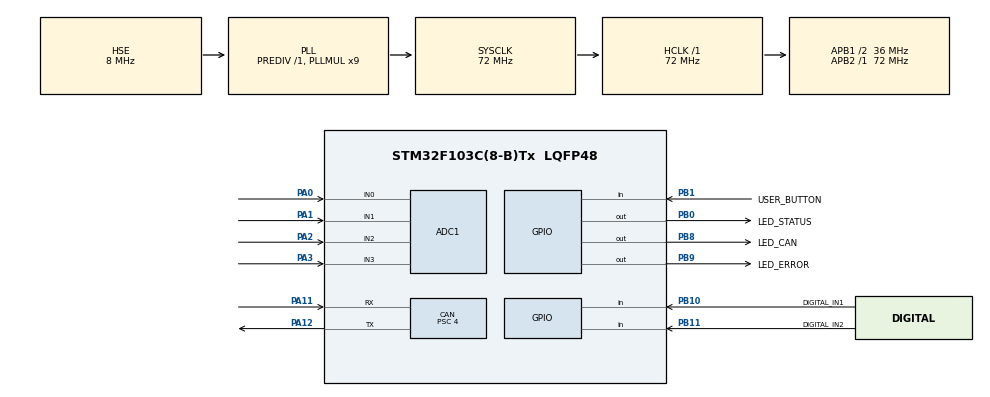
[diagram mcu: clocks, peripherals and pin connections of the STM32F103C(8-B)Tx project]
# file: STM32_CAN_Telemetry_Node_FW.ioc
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ADC1.Channel-0\#ChannelRegularConversion=ADC_CHANNEL_0
ADC1.Channel-1\#ChannelRegularConversion=ADC_CHANNEL_1
ADC1.Channel-2\#ChannelRegularConversion=ADC_CHANNEL_2
ADC1.Channel-3\#ChannelRegularConversion=ADC_CHANNEL_3
ADC1.NbrOfConversion=4
ADC1.NbrOfConversionFlag=1
ADC1.Rank-0\#ChannelRegularConversion=1
ADC1.Rank-1\#ChannelRegularConversion=2
ADC1.Rank-2\#ChannelRegularConversion=3
ADC1.Rank-3\#ChannelRegularConversion=4
ADC1.SamplingTime-0\#ChannelRegularConversion=ADC_SAMPLETIME_55CYCLES_5
ADC1.SamplingTime-1\#ChannelRegularConversion=ADC_SAMPLETIME_55CYCLES_5
ADC1.SamplingTime-2\#ChannelRegularConversion=ADC_SAMPLETIME_55CYCLES_5
ADC1.SamplingTime-3\#ChannelRegularConversion=ADC_SAMPLETIME_55CYCLES_5
ADC1.master=1
CAN.ABOM=ENABLE
CAN.BS1=CAN_BS1_13TQ
CAN.BS2=CAN_BS2_4TQ
CAN.CalculateBaudRate=500000
CAN.CalculateTimeBit=2000
CAN.CalculateTimeQuantum=111.11111111111111
CAN.Mode=CAN_MODE_NORMAL
CAN.NART=ENABLE
CAN.Prescaler=4
Mcu.Family=STM32F1
Mcu.Name=STM32F103C(8-B)Tx
Mcu.Package=LQFP48
NVIC.PriorityGroup=NVIC_PRIORITYGROUP_4
PA0-WKUP.Signal=ADCx_IN0
PA1.Signal=ADCx_IN1
PA11.Mode=CAN_Activate
PA11.Signal=CAN_RX
PA12.Mode=CAN_Activate
PA12.Signal=CAN_TX
PA13.Mode=Serial_Wire
PA13.Signal=SYS_JTMS-SWDIO
PA14.Mode=Serial_Wire
PA14.Signal=SYS_JTCK-SWCLK
PA2.Signal=ADCx_IN2
PA3.Signal=ADCx_IN3
PA8.Signal=S_TIM1_CH1
PB0.GPIO_Label=LED_STATUS
PB0.Signal=GPIO_Output
PB1.GPIO_Label=USER_BUTTON
PB1.Signal=GPIO_Input
PB10.GPIO_Label=DIGITAL_IN1
PB10.Signal=GPIO_Input
PB11.GPIO_Label=DIGITAL_IN2
PB11.Signal=GPIO_Input
PB8.GPIO_Label=LED_CAN
PB8.Signal=GPIO_Output
PB9.GPIO_Label=LED_ERROR
PB9.Signal=GPIO_Output
PD0-OSC_IN.Mode=HSE-External-Oscillator
PD0-OSC_IN.Signal=RCC_OSC_IN
PD1-OSC_OUT.Mode=HSE-External-Oscillator
PD1-OSC_OUT.Signal=RCC_OSC_OUT
ProjectManager.HeapSize=0x200
ProjectManager.StackSize=0x400
ProjectManager.TargetToolchain=STM32CubeIDE
RCC.ADCPresc=RCC_ADCPCLK2_DIV8
RCC.AHBFreq_Value=72000000
RCC.APB1CLKDivider=RCC_HCLK_DIV2
RCC.APB1Freq_Value=36000000
RCC.APB1TimFreq_Value=72000000
RCC.APB2Freq_Value=72000000
RCC.APB2TimFreq_Value=72000000
RCC.HCLKFreq_Value=72000000
RCC.PLLMUL=RCC_PLL_MUL9
RCC.PLLSourceVirtual=RCC_PLLSOURCE_HSE
RCC.SYSCLKFreq_VALUE=72000000
RCC.SYSCLKSource=RCC_SYSCLKSOURCE_PLLCLK
RCC.USBFreq_Value=72000000
SH.ADCx_IN0.0=ADC1_IN0,IN0
SH.ADCx_IN1.0=ADC1_IN1,IN1
SH.ADCx_IN2.0=ADC1_IN2,IN2
SH.ADCx_IN3.0=ADC1_IN3,IN3
SH.S_TIM1_CH1.0=TIM1_CH1
board=custom

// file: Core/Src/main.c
/* USER CODE BEGIN Header */
/**
  ******************************************************************************
  * @file           : main.c
  * @brief          : Main program body
  ******************************************************************************
  * @attention
  *
  * STM32 CAN Telemetry Node Rev A
  * Starter firmware framework for planned ADC-to-CAN bring-up.
  *
  * Status:
  * - Firmware structure for GPIO, ADC, and CAN transmit logic.
  * - Intended CAN message: Standard ID 0x100, DLC 8.
  * - Hardware validation is planned after PCB assembly.
  * - This firmware has not yet been tested on physical Rev A hardware.
  *
  * Copyright (c) 2026 STMicroelectronics.
  * All rights reserved.
  *
  * This software is licensed under terms that can be found in the LICENSE file
  * in the root directory of this software component.
  * If no LICENSE file comes with this software, it is provided AS-IS.
  *
  ******************************************************************************
  */
/* USER CODE END Header */

#include "main.h"
#include "adc.h"
#include "can.h"
#include "gpio.h"

/* USER CODE BEGIN PD */

#define CAN_TELEMETRY_ID        0x100U
#define CAN_TELEMETRY_DLC       8U
#define TELEMETRY_PERIOD_MS     100U

/* USER CODE END PD */

/* USER CODE BEGIN PV */

/*
 * Raw ADC values:
 * adc_values[0] = AIN1_RAW from PA0 / ADC_IN0
 * adc_values[1] = AIN2_RAW from PA1 / ADC_IN1
 * adc_values[2] = AIN3_RAW from PA2 / ADC_IN2
 * adc_values[3] = AIN4_RAW from PA3 / ADC_IN3
 */
uint16_t adc_values[4] = {0};

/*
 * CAN transmit objects for the planned telemetry frame.
 */
CAN_TxHeaderTypeDef TxHeader;
uint8_t TxData[8] = {0};
uint32_t TxMailbox;

/* USER CODE END PV */

void SystemClock_Config(void);

/* USER CODE BEGIN PFP */

static void Read_ADC_Channels(void);
static void Pack_CAN_Data(void);
static void Init_CAN_Message(void);

/* USER CODE END PFP */

/* USER CODE BEGIN 0 */

/*
 * Read_ADC_Channels
 *
 * Reads four ADC channels configured in ADC1 scan mode:
 * Rank 1: PA0 / ADC_IN0 / AIN1
 * Rank 2: PA1 / ADC_IN1 / AIN2
 * Rank 3: PA2 / ADC_IN2 / AIN3
 * Rank 4: PA3 / ADC_IN3 / AIN4
 *
 * Important:
 * ADC is started once, then each ranked conversion is read in order.
 * This avoids restarting the ADC sequence at Rank 1 every time.
 */
static void Read_ADC_Channels(void)
{
    HAL_ADC_Start(&hadc1);

    for (uint8_t i = 0; i < 4; i++)
    {
        if (HAL_ADC_PollForConversion(&hadc1, 10) == HAL_OK)
        {
            adc_values[i] = (uint16_t)HAL_ADC_GetValue(&hadc1);
        }
    }

    HAL_ADC_Stop(&hadc1);
}

/*
 * Pack_CAN_Data
 *
 * Packs four 16-bit raw ADC values into an 8-byte CAN payload.
 *
 * Payload format:
 * Byte 0-1: AIN1_RAW
 * Byte 2-3: AIN2_RAW
 * Byte 4-5: AIN3_RAW
 * Byte 6-7: AIN4_RAW
 *
 * Each uint16_t value is packed little-endian:
 * low byte first, high byte second.
 */
static void Pack_CAN_Data(void)
{
    TxData[0] = (uint8_t)(adc_values[0] & 0xFF);
    TxData[1] = (uint8_t)((adc_values[0] >> 8) & 0xFF);

    TxData[2] = (uint8_t)(adc_values[1] & 0xFF);
    TxData[3] = (uint8_t)((adc_values[1] >> 8) & 0xFF);

    TxData[4] = (uint8_t)(adc_values[2] & 0xFF);
    TxData[5] = (uint8_t)((adc_values[2] >> 8) & 0xFF);

    TxData[6] = (uint8_t)(adc_values[3] & 0xFF);
    TxData[7] = (uint8_t)((adc_values[3] >> 8) & 0xFF);
}

/*
 * Init_CAN_Message
 *
 * Configures the transmit header for the planned telemetry frame.
 *
 * CAN frame:
 * Standard 11-bit ID: 0x100
 * DLC: 8 bytes
 * Frame type: Data frame
 */
static void Init_CAN_Message(void)
{
    TxHeader.StdId = CAN_TELEMETRY_ID;
    TxHeader.ExtId = 0x000;
    TxHeader.IDE = CAN_ID_STD;
    TxHeader.RTR = CAN_RTR_DATA;
    TxHeader.DLC = CAN_TELEMETRY_DLC;
    TxHeader.TransmitGlobalTime = DISABLE;
}

/* USER CODE END 0 */

int main(void)
{

  /* MCU Configuration--------------------------------------------------------*/

  /*
   * Reset of all peripherals, initializes the Flash interface,
   * and initializes the SysTick timer.
   */
  HAL_Init();

  /*
   * Configure the system clock.
   * Current setup uses the external 8 MHz HSE crystal and PLL x9
   * for 72 MHz SYSCLK.
   */
  SystemClock_Config();

  /*
   * Initialize all configured peripherals generated by STM32CubeMX.
   */
  MX_GPIO_Init();
  MX_ADC1_Init();
  MX_CAN_Init();

  /* USER CODE BEGIN 2 */

  /*
   * Initialize debug LEDs to a known OFF state.
   * Exact LED behavior will be verified during physical board bring-up.
   */
  HAL_GPIO_WritePin(LED_STATUS_GPIO_Port, LED_STATUS_Pin, GPIO_PIN_RESET);
  HAL_GPIO_WritePin(LED_CAN_GPIO_Port, LED_CAN_Pin, GPIO_PIN_RESET);
  HAL_GPIO_WritePin(LED_ERROR_GPIO_Port, LED_ERROR_Pin, GPIO_PIN_RESET);

  /*
   * Calibrate ADC1 before first conversion.
   * This is recommended for STM32F1 ADC accuracy.
   */
  if (HAL_ADCEx_Calibration_Start(&hadc1) != HAL_OK)
  {
      HAL_GPIO_WritePin(LED_ERROR_GPIO_Port, LED_ERROR_Pin, GPIO_PIN_SET);
  }

  /*
   * Prepare and start CAN peripheral.
   * If CAN start fails, LED_ERROR is set and remains set.
   */
  Init_CAN_Message();

  if (HAL_CAN_Start(&hcan) != HAL_OK)
  {
      HAL_GPIO_WritePin(LED_ERROR_GPIO_Port, LED_ERROR_Pin, GPIO_PIN_SET);
  }

  /* USER CODE END 2 */

  /* Infinite loop */
  /* USER CODE BEGIN WHILE */
  while (1)
  {
      /*
       * Starter telemetry loop:
       * 1. Read four raw ADC channels.
       * 2. Pack values into CAN payload.
       * 3. Transmit CAN frame ID 0x100.
       * 4. Toggle LEDs for planned bring-up feedback.
       *
       * Note:
       * This loop has not been tested on Rev A hardware yet.
       */
      Read_ADC_Channels();
      Pack_CAN_Data();

      if (HAL_CAN_AddTxMessage(&hcan, &TxHeader, TxData, &TxMailbox) == HAL_OK)
      {
          /*
           * Planned behavior:
           * LED_CAN toggles whenever a CAN message is queued successfully.
           */
          HAL_GPIO_TogglePin(LED_CAN_GPIO_Port, LED_CAN_Pin);
      }
      else
      {
          /*
           * Planned behavior:
           * LED_ERROR turns on if CAN transmit queueing fails.
           */
          HAL_GPIO_WritePin(LED_ERROR_GPIO_Port, LED_ERROR_Pin, GPIO_PIN_SET);
      }

      /*
       * Planned firmware heartbeat.
       */
      HAL_GPIO_TogglePin(LED_STATUS_GPIO_Port, LED_STATUS_Pin);

      /*
       * Planned transmit period: 100 ms.
       */
      HAL_Delay(TELEMETRY_PERIOD_MS);

    /* USER CODE END WHILE */

  }
}

void SystemClock_Config(void)
{
  RCC_OscInitTypeDef RCC_OscInitStruct = {0};
  RCC_ClkInitTypeDef RCC_ClkInitStruct = {0};
  RCC_PeriphCLKInitTypeDef PeriphClkInit = {0};

  /*
   * Initializes the RCC Oscillators according to the specified parameters
   * in the RCC_OscInitTypeDef structure.
   *
   * HSE = external 8 MHz crystal
   * PLL = HSE x9
   * SYSCLK = 72 MHz
   */
  RCC_OscInitStruct.OscillatorType = RCC_OSCILLATORTYPE_HSE;
  RCC_OscInitStruct.HSEState = RCC_HSE_ON;
  RCC_OscInitStruct.HSEPredivValue = RCC_HSE_PREDIV_DIV1;
  RCC_OscInitStruct.HSIState = RCC_HSI_ON;
  RCC_OscInitStruct.PLL.PLLState = RCC_PLL_ON;
  RCC_OscInitStruct.PLL.PLLSource = RCC_PLLSOURCE_HSE;
  RCC_OscInitStruct.PLL.PLLMUL = RCC_PLL_MUL9;

  if (HAL_RCC_OscConfig(&RCC_OscInitStruct) != HAL_OK)
  {
    Error_Handler();
  }

  /*
   * Initializes the CPU, AHB, and APB bus clocks.
   *
   * HCLK  = 72 MHz
   * PCLK1 = 36 MHz
   * PCLK2 = 72 MHz
   *
   * APB1 is divided by 2 because STM32F103 APB1 max is 36 MHz.
   */
  RCC_ClkInitStruct.ClockType = RCC_CLOCKTYPE_HCLK |
                                RCC_CLOCKTYPE_SYSCLK |
                                RCC_CLOCKTYPE_PCLK1 |
                                RCC_CLOCKTYPE_PCLK2;

  RCC_ClkInitStruct.SYSCLKSource = RCC_SYSCLKSOURCE_PLLCLK;
  RCC_ClkInitStruct.AHBCLKDivider = RCC_SYSCLK_DIV1;
  RCC_ClkInitStruct.APB1CLKDivider = RCC_HCLK_DIV2;
  RCC_ClkInitStruct.APB2CLKDivider = RCC_HCLK_DIV1;

  if (HAL_RCC_ClockConfig(&RCC_ClkInitStruct, FLASH_LATENCY_2) != HAL_OK)
  {
    Error_Handler();
  }

  /*
   * ADC clock prescaler.
   * APB2 = 72 MHz, ADC prescaler /8 gives ADC clock = 9 MHz.
   * This is safe for STM32F1 ADC operation.
   */
  PeriphClkInit.PeriphClockSelection = RCC_PERIPHCLK_ADC;
  PeriphClkInit.AdcClockSelection = RCC_ADCPCLK2_DIV8;

  if (HAL_RCCEx_PeriphCLKConfig(&PeriphClkInit) != HAL_OK)
  {
    Error_Handler();
  }
}

void Error_Handler(void)
{
  /* USER CODE BEGIN Error_Handler_Debug */

  /*
   * Error handler for starter firmware.
   * If available, turn on LED_ERROR and stay here.
   *
   * This behavior is intended for future board bring-up.
   */
  HAL_GPIO_WritePin(LED_ERROR_GPIO_Port, LED_ERROR_Pin, GPIO_PIN_SET);

  __disable_irq();

  while (1)
  {
      /*
       * Stay here on error.
       */
  }

  /* USER CODE END Error_Handler_Debug */
}

#ifdef USE_FULL_ASSERT
/**
  * @brief  Reports the name of the source file and the source line number
  *         where the assert_param error has occurred.
  * @param  file: pointer to the source file name
  * @param  line: assert_param error line source number
  * @retval None
  */
void assert_failed(uint8_t *file, uint32_t line)
{
  /* USER CODE BEGIN 6 */

  /*
   * User can add reporting here later, for example through UART or debug output.
   * Not implemented in this starter firmware.
   */

  /* USER CODE END 6 */
}
#endif /* USE_FULL_ASSERT */
